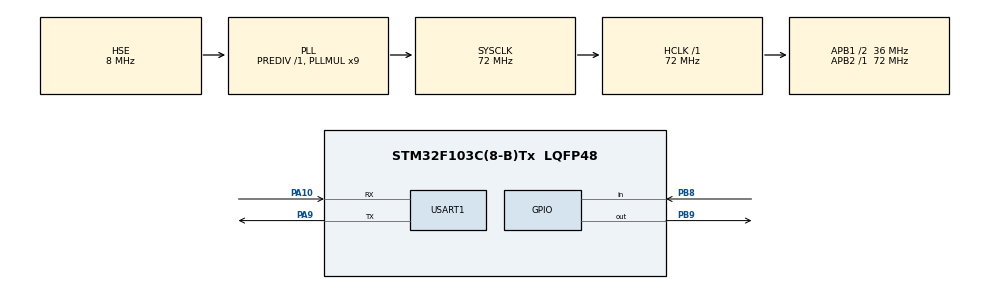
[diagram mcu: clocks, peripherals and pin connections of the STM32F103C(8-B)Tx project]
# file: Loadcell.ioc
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Dma.Request0=USART1_RX
Dma.Request1=USART1_TX
Dma.USART1_RX.0.Direction=DMA_PERIPH_TO_MEMORY
Dma.USART1_RX.0.Instance=DMA1_Channel5
Dma.USART1_RX.0.MemDataAlignment=DMA_MDATAALIGN_BYTE
Dma.USART1_RX.0.MemInc=DMA_MINC_ENABLE
Dma.USART1_RX.0.Mode=DMA_NORMAL
Dma.USART1_RX.0.PeriphDataAlignment=DMA_PDATAALIGN_BYTE
Dma.USART1_RX.0.PeriphInc=DMA_PINC_DISABLE
Dma.USART1_RX.0.Priority=DMA_PRIORITY_LOW
Dma.USART1_TX.1.Direction=DMA_MEMORY_TO_PERIPH
Dma.USART1_TX.1.Instance=DMA1_Channel4
Dma.USART1_TX.1.MemDataAlignment=DMA_MDATAALIGN_BYTE
Dma.USART1_TX.1.MemInc=DMA_MINC_ENABLE
Dma.USART1_TX.1.Mode=DMA_NORMAL
Dma.USART1_TX.1.PeriphDataAlignment=DMA_PDATAALIGN_BYTE
Dma.USART1_TX.1.PeriphInc=DMA_PINC_DISABLE
Dma.USART1_TX.1.Priority=DMA_PRIORITY_LOW
Mcu.Family=STM32F1
Mcu.Name=STM32F103C(8-B)Tx
Mcu.Package=LQFP48
NVIC.DMA1_Channel4_IRQn=true\:0\:0\:false\:false\:true\:false\:true\:true
NVIC.DMA1_Channel5_IRQn=true\:0\:0\:false\:false\:true\:false\:true\:true
NVIC.PriorityGroup=NVIC_PRIORITYGROUP_4
NVIC.TIM2_IRQn=true\:0\:0\:false\:false\:true\:true\:true\:true
NVIC.USART1_IRQn=true\:0\:0\:false\:false\:true\:true\:true\:true
PA10.Mode=Asynchronous
PA10.Signal=USART1_RX
PA13.Mode=Serial_Wire
PA13.Signal=SYS_JTMS-SWDIO
PA14.Mode=Serial_Wire
PA14.Signal=SYS_JTCK-SWCLK
PA9.Mode=Asynchronous
PA9.Signal=USART1_TX
PB8.Signal=GPIO_Input
PB9.Signal=GPIO_Output
PD0-OSC_IN.Mode=HSE-External-Oscillator
PD0-OSC_IN.Signal=RCC_OSC_IN
PD1-OSC_OUT.Mode=HSE-External-Oscillator
PD1-OSC_OUT.Signal=RCC_OSC_OUT
ProjectManager.HeapSize=0x200
ProjectManager.StackSize=0x400
ProjectManager.TargetToolchain=MDK-ARM V5
RCC.AHBFreq_Value=72000000
RCC.APB1CLKDivider=RCC_HCLK_DIV2
RCC.APB1Freq_Value=36000000
RCC.APB1TimFreq_Value=72000000
RCC.APB2Freq_Value=72000000
RCC.APB2TimFreq_Value=72000000
RCC.HCLKFreq_Value=72000000
RCC.PLLMUL=RCC_PLL_MUL9
RCC.PLLSourceVirtual=RCC_PLLSOURCE_HSE
RCC.SYSCLKFreq_VALUE=72000000
RCC.SYSCLKSource=RCC_SYSCLKSOURCE_PLLCLK
RCC.USBFreq_Value=72000000
TIM2.Prescaler=71
USART1.VirtualMode=VM_ASYNC
VP_TIM2_VS_ClockSourceINT.Mode=Internal
board=custom

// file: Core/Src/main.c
/* USER CODE END Header */
#include "main.h"

TIM_HandleTypeDef htim2;

UART_HandleTypeDef huart1;
DMA_HandleTypeDef hdma_usart1_rx;
DMA_HandleTypeDef hdma_usart1_tx;

void SystemClock_Config(void);
static void MX_GPIO_Init(void);
static void MX_DMA_Init(void);
static void MX_TIM2_Init(void);
static void MX_USART1_UART_Init(void);
/* USER CODE BEGIN PFP */
#include <stdio.h>
#include <math.h>
#include <string.h>

/* USER CODE END PFP */

/* USER CODE BEGIN 0 */
#define DT_PIN GPIO_PIN_8
#define DT_PORT GPIOB
#define SCK_PIN GPIO_PIN_9
#define SCK_PORT GPIOB

uint32_t tare = 8574294;
float knownOriginal = 189000;  // in milli gram
float knownHX711 = 421436;
int weight, Mode_09_Flag;

uint8_t RX_Data[17];
int UART1_RX_Flag, Real_Weight;
char *Char_RX_Data;
char Weight_Buffer[13];

void Mode_09 ()
{
	Real_Weight = weight;

	int len = sprintf(Weight_Buffer, "%d\r\n",Real_Weight);
	HAL_UART_Transmit (&huart1, (uint8_t *)Weight_Buffer, len, HAL_MAX_DELAY);
}

void HAL_UARTEx_RxEventCallback (UART_HandleTypeDef *huart, uint16_t Size)
{
	if (huart->Instance == USART1)
	{
			UART1_RX_Flag = 1;
	}
}

void UART1_RX_Processing ()
{
	Char_RX_Data = (char*)RX_Data;

	if (strncmp(Char_RX_Data, "00090000011", sizeof(RX_Data)) == 0)
	{
		Mode_09_Flag = 0;
	}

	if (strncmp(Char_RX_Data, "00090001011", sizeof(RX_Data)) == 0)
	{
		Mode_09_Flag = 1;
	}
}

void microDelay(uint16_t delay)
{
  __HAL_TIM_SET_COUNTER(&htim2, 0);
  while (__HAL_TIM_GET_COUNTER(&htim2) < delay);
}

int32_t getHX711(void)
{
  uint32_t data = 0;
  uint32_t startTime = HAL_GetTick();
  while(HAL_GPIO_ReadPin(DT_PORT, DT_PIN) == GPIO_PIN_SET)
  {
    if(HAL_GetTick() - startTime > 200)
      return 0;
  }
  for(int8_t len=0; len<24 ; len++)
  {
    HAL_GPIO_WritePin(SCK_PORT, SCK_PIN, GPIO_PIN_SET);
    microDelay(1);
    data = data << 1;
    HAL_GPIO_WritePin(SCK_PORT, SCK_PIN, GPIO_PIN_RESET);
    microDelay(1);
    if(HAL_GPIO_ReadPin(DT_PORT, DT_PIN) == GPIO_PIN_SET)
      data ++;
  }
  data = data ^ 0x800000;
  HAL_GPIO_WritePin(SCK_PORT, SCK_PIN, GPIO_PIN_SET);
  microDelay(1);
  HAL_GPIO_WritePin(SCK_PORT, SCK_PIN, GPIO_PIN_RESET);
  microDelay(1);
  return data;
}

int weigh()
{
  int32_t  total = 0;
  int32_t  samples = 50;
  int milligram;
  float coefficient;
  for(uint16_t i=0 ; i<samples ; i++)
  {
      total += getHX711();
  }
  int32_t average = (int32_t)(total / samples);
  coefficient = knownOriginal / knownHX711;
  milligram = (int)(average-tare)*coefficient;
  return milligram;
}
/* USER CODE END 0 */

int main(void)
{

  /* MCU Configuration--------------------------------------------------------*/

  /* Reset of all peripherals, Initializes the Flash interface and the Systick. */
  HAL_Init();

  /* Configure the system clock */
  SystemClock_Config();

  /* Initialize all configured peripherals */
  MX_GPIO_Init();
  MX_DMA_Init();
  MX_TIM2_Init();
  MX_USART1_UART_Init();
  /* USER CODE BEGIN 2 */
  HAL_TIM_Base_Start(&htim2);
  HAL_GPIO_WritePin(SCK_PORT, SCK_PIN, GPIO_PIN_SET);
  HAL_Delay(10);
  HAL_GPIO_WritePin(SCK_PORT, SCK_PIN, GPIO_PIN_RESET);
  HAL_Delay(10);

	HAL_UARTEx_ReceiveToIdle_DMA (&huart1, RX_Data, sizeof(RX_Data));
  /* USER CODE END 2 */

  /* Infinite loop */
  /* USER CODE BEGIN WHILE */
  while (1)
  {
		HAL_UARTEx_ReceiveToIdle_DMA (&huart1, RX_Data, sizeof(RX_Data));

		weight = weigh(); // in milligram

		if (UART1_RX_Flag == 1)
		{
			UART1_RX_Processing ();
		}

		if (Mode_09_Flag == 1)
		{
			Mode_09 ();
		}
    /* USER CODE END WHILE */

  }
}

void SystemClock_Config(void)
{
  RCC_OscInitTypeDef RCC_OscInitStruct = {0};
  RCC_ClkInitTypeDef RCC_ClkInitStruct = {0};

  /** Initializes the RCC Oscillators according to the specified parameters
  * in the RCC_OscInitTypeDef structure.
  */
  RCC_OscInitStruct.OscillatorType = RCC_OSCILLATORTYPE_HSE;
  RCC_OscInitStruct.HSEState = RCC_HSE_ON;
  RCC_OscInitStruct.HSEPredivValue = RCC_HSE_PREDIV_DIV1;
  RCC_OscInitStruct.HSIState = RCC_HSI_ON;
  RCC_OscInitStruct.PLL.PLLState = RCC_PLL_ON;
  RCC_OscInitStruct.PLL.PLLSource = RCC_PLLSOURCE_HSE;
  RCC_OscInitStruct.PLL.PLLMUL = RCC_PLL_MUL9;
  if (HAL_RCC_OscConfig(&RCC_OscInitStruct) != HAL_OK)
  {
    Error_Handler();
  }
  /** Initializes the CPU, AHB and APB buses clocks
  */
  RCC_ClkInitStruct.ClockType = RCC_CLOCKTYPE_HCLK|RCC_CLOCKTYPE_SYSCLK
                              |RCC_CLOCKTYPE_PCLK1|RCC_CLOCKTYPE_PCLK2;
  RCC_ClkInitStruct.SYSCLKSource = RCC_SYSCLKSOURCE_PLLCLK;
  RCC_ClkInitStruct.AHBCLKDivider = RCC_SYSCLK_DIV1;
  RCC_ClkInitStruct.APB1CLKDivider = RCC_HCLK_DIV2;
  RCC_ClkInitStruct.APB2CLKDivider = RCC_HCLK_DIV1;

  if (HAL_RCC_ClockConfig(&RCC_ClkInitStruct, FLASH_LATENCY_2) != HAL_OK)
  {
    Error_Handler();
  }
}

static void MX_TIM2_Init(void)
{

  TIM_ClockConfigTypeDef sClockSourceConfig = {0};
  TIM_MasterConfigTypeDef sMasterConfig = {0};

  htim2.Instance = TIM2;
  htim2.Init.Prescaler = 71;
  htim2.Init.CounterMode = TIM_COUNTERMODE_UP;
  htim2.Init.Period = 65535;
  htim2.Init.ClockDivision = TIM_CLOCKDIVISION_DIV1;
  htim2.Init.AutoReloadPreload = TIM_AUTORELOAD_PRELOAD_DISABLE;
  if (HAL_TIM_Base_Init(&htim2) != HAL_OK)
  {
    Error_Handler();
  }
  sClockSourceConfig.ClockSource = TIM_CLOCKSOURCE_INTERNAL;
  if (HAL_TIM_ConfigClockSource(&htim2, &sClockSourceConfig) != HAL_OK)
  {
    Error_Handler();
  }
  sMasterConfig.MasterOutputTrigger = TIM_TRGO_RESET;
  sMasterConfig.MasterSlaveMode = TIM_MASTERSLAVEMODE_DISABLE;
  if (HAL_TIMEx_MasterConfigSynchronization(&htim2, &sMasterConfig) != HAL_OK)
  {
    Error_Handler();
  }

}

static void MX_USART1_UART_Init(void)
{

  huart1.Instance = USART1;
  huart1.Init.BaudRate = 115200;
  huart1.Init.WordLength = UART_WORDLENGTH_8B;
  huart1.Init.StopBits = UART_STOPBITS_1;
  huart1.Init.Parity = UART_PARITY_NONE;
  huart1.Init.Mode = UART_MODE_TX_RX;
  huart1.Init.HwFlowCtl = UART_HWCONTROL_NONE;
  huart1.Init.OverSampling = UART_OVERSAMPLING_16;
  if (HAL_UART_Init(&huart1) != HAL_OK)
  {
    Error_Handler();
  }

}

static void MX_DMA_Init(void)
{

  /* DMA controller clock enable */
  __HAL_RCC_DMA1_CLK_ENABLE();

  /* DMA interrupt init */
  /* DMA1_Channel4_IRQn interrupt configuration */
  HAL_NVIC_SetPriority(DMA1_Channel4_IRQn, 0, 0);
  HAL_NVIC_EnableIRQ(DMA1_Channel4_IRQn);
  /* DMA1_Channel5_IRQn interrupt configuration */
  HAL_NVIC_SetPriority(DMA1_Channel5_IRQn, 0, 0);
  HAL_NVIC_EnableIRQ(DMA1_Channel5_IRQn);

}

static void MX_GPIO_Init(void)
{
  GPIO_InitTypeDef GPIO_InitStruct = {0};

  /* GPIO Ports Clock Enable */
  __HAL_RCC_GPIOD_CLK_ENABLE();
  __HAL_RCC_GPIOA_CLK_ENABLE();
  __HAL_RCC_GPIOB_CLK_ENABLE();

  /*Configure GPIO pin Output Level */
  HAL_GPIO_WritePin(GPIOB, GPIO_PIN_9, GPIO_PIN_RESET);

  /*Configure GPIO pin : PB8 */
  GPIO_InitStruct.Pin = GPIO_PIN_8;
  GPIO_InitStruct.Mode = GPIO_MODE_INPUT;
  GPIO_InitStruct.Pull = GPIO_NOPULL;
  HAL_GPIO_Init(GPIOB, &GPIO_InitStruct);

  /*Configure GPIO pin : PB9 */
  GPIO_InitStruct.Pin = GPIO_PIN_9;
  GPIO_InitStruct.Mode = GPIO_MODE_OUTPUT_PP;
  GPIO_InitStruct.Pull = GPIO_NOPULL;
  GPIO_InitStruct.Speed = GPIO_SPEED_FREQ_LOW;
  HAL_GPIO_Init(GPIOB, &GPIO_InitStruct);

}

void Error_Handler(void)
{
}

/************************ (C) COPYRIGHT STMicroelectronics *****END OF FILE****/
